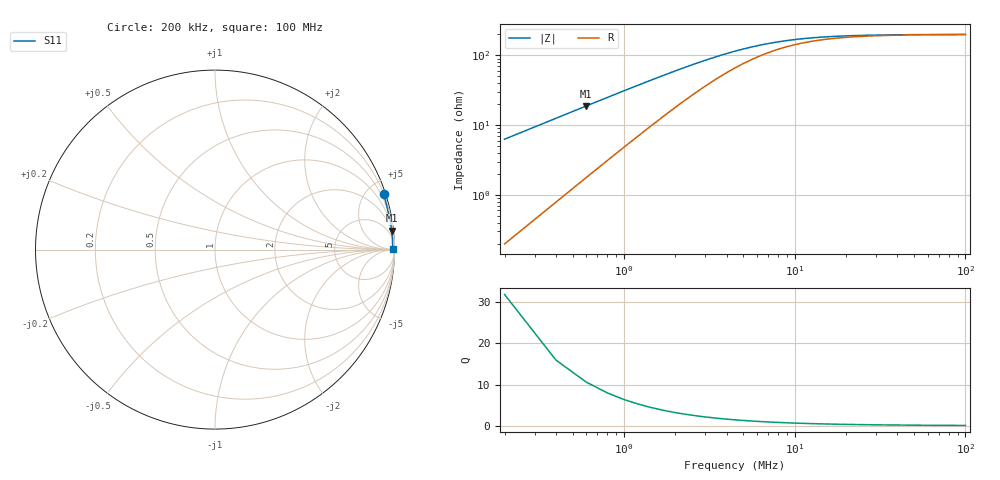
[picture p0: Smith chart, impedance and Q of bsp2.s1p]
! AWR Design Environment (7670) Wed Feb 10 08:23:58 2016
! Document = 'bsp2'
! nPorts: 1, nXvals: 501
# HZ Z RI R 1
!Freq ReZ11 ImZ11
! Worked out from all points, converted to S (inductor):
!   500 points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, 200 kHz to 100 MHz, reference 1 ohm
!   read as one part to ground: L = 4.92 uH near 600 kHz
!   highest Q = 10.6 at 600 kHz (marker M1), where L = 4.96 uH
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200000  0.1972 6.277
400000  0.7865 12.52
600000  1.761 18.68
800000  3.109 24.74
1000000  4.816 30.66
1200000  6.862 36.41
1400000  9.226 41.95
1600000  11.88 47.28
1800000  14.81 52.36
2000000  17.97 57.19
2400000  24.89 66.02
2600000  28.59 70
3000000  36.34 77.12
3600000  48.46 85.69
4400000  64.65 93.54
5600000  87.25 99.18
6800000  106.6 99.78
8400000  127 96.28
1.04e7  145.5 89.06
1.28e7  160.3 79.75
1.8e7  177.8 62.87
2.52e7  188 47.49
3.78e7  194.5 32.75
5.02e7  196.8 24.96
6.26e7  198 20.13
7.52e7  198.6 16.81
8.76e7  198.9 14.46
1e8  199.2 12.68
